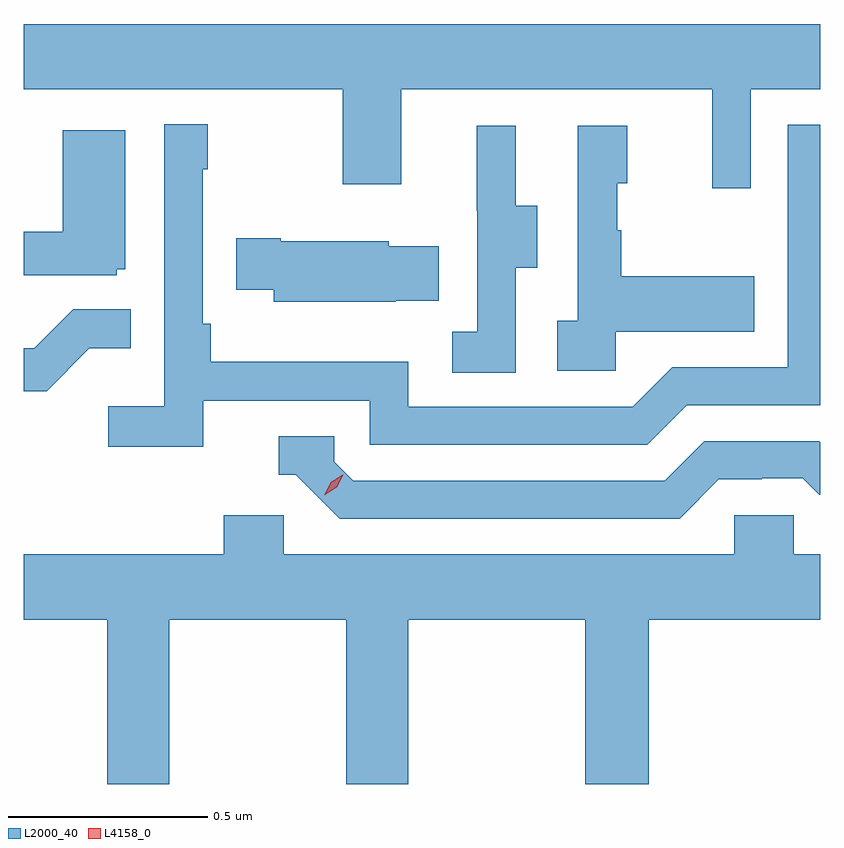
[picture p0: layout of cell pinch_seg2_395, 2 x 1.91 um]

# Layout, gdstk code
import gdstk
lib = gdstk.Library(unit=1e-6, precision=1e-09)
def P(c, l, *ps):  # polygons
    for p in ps: c.add(gdstk.Polygon(p, *l))
L2000_40 = (2000, 40)
L4158_0 = (4158, 0)

pinch_seg2_395 = lib.new_cell('pinch_seg2_395')
P(pinch_seg2_395, L2000_40, [(971.823,614.336),(971.997,614.336),(971.997,614.5),(969.997,614.5),(969.997,614.336),(970.798,614.336),(970.798,614.097),(970.945,614.097),(970.945,614.336),(971.726,614.336),(971.726,614.088),(971.823,614.088)],
  [(970.448,613.554),(970.866,613.554),(970.866,613.443),(971.563,613.443),(971.662,613.542),(971.997,613.542),(971.997,614.247),(971.916,614.247),(971.916,613.638),(971.625,613.638),(971.526,613.539),(970.962,613.539),(970.962,613.651),(970.466,613.651),(970.466,613.747),(970.446,613.747),(970.446,614.135),(970.459,614.135),(970.459,614.248),(970.35,614.248),(970.35,613.54),(970.209,613.54),(970.209,613.438),(970.448,613.438)],
  [(971.484,613.727),(971.831,613.727),(971.831,613.867),(971.497,613.867),(971.497,613.982),(971.487,613.982),(971.487,614.1),(971.512,614.1),(971.512,614.245),(971.388,614.245),(971.388,613.754),(971.337,613.754),(971.337,613.629),(971.484,613.629)],
  [(971.232,613.888),(971.287,613.888),(971.287,614.043),(971.233,614.043),(971.233,614.245),(971.135,614.245),(971.135,614.031),(971.136,614.031),(971.136,613.727),(971.073,613.727),(971.073,613.624),(971.232,613.624)],
  [(970.23,613.884),(970.252,613.884),(970.252,614.233),(970.094,614.233),(970.094,613.978),(969.997,613.978),(969.997,613.869),(970.23,613.869)],
  [(970.931,613.805),(971.039,613.805),(971.039,613.942),(970.914,613.942),(970.914,613.954),(970.642,613.954),(970.642,613.962),(970.531,613.962),(970.531,613.832),(970.625,613.832),(970.625,613.802),(970.931,613.802)],
  [(970.161,613.685),(970.265,613.685),(970.265,613.784),(970.121,613.784),(970.023,613.686),(969.997,613.686),(969.997,613.578),(970.054,613.578)],
  [(971.743,613.356),(971.85,613.356),(971.85,613.359),(971.953,613.359),(971.995,613.317),(971.997,613.317),(971.997,613.45),(971.995,613.452),(971.706,613.452),(971.607,613.353),(970.824,613.353),(970.776,613.401),(970.776,613.464),(970.637,613.464),(970.637,613.368),(970.68,613.368),(970.791,613.257),(971.644,613.257)],
  [(970.362,613.004),(970.807,613.004),(970.807,612.591),(970.962,612.591),(970.962,613.004),(971.407,613.004),(971.407,612.591),(971.567,612.591),(971.567,613.004),(971.997,613.004),(971.997,613.168),(971.931,613.168),(971.931,613.266),(971.781,613.266),(971.781,613.168),(970.65,613.168),(970.65,613.266),(970.499,613.266),(970.499,613.168),(969.997,613.168),(969.997,613.004),(970.207,613.004),(970.207,612.591),(970.362,612.591)])
P(pinch_seg2_395, L4158_0, [(970.752,613.316),(970.752,613.316),(970.768,613.349),(970.798,613.368),(970.799,613.368),(970.799,613.368),(970.783,613.336),(970.752,613.316)])

lib.write_gds('pinch_seg2_395.gds')
